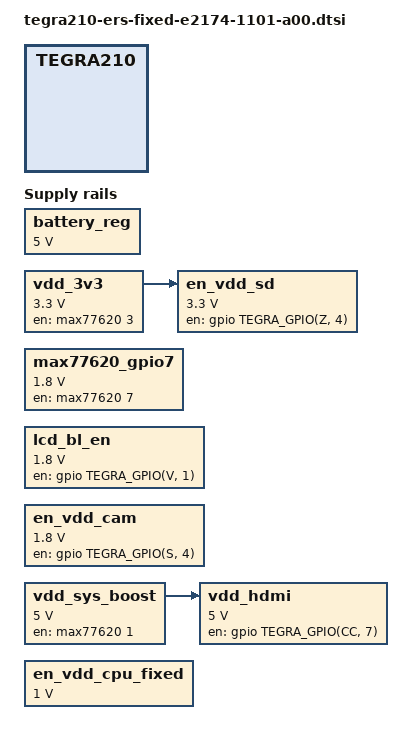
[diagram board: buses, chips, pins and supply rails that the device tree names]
#include <dt-bindings/gpio/tegra-gpio.h>

/ {
	regulators {
		compatible = "simple-bus";
		device_type = "fixed-regulators";
		#address-cells = <1>;
		#size-cells = <0>;

		battery_reg: regulator@0 {
			compatible = "regulator-fixed";
			reg = <0>;
			regulator-name = "vdd-ac-bat";
			regulator-min-microvolt = <5000000>;
			regulator-max-microvolt = <5000000>;
			regulator-always-on;
		};

		vdd_3v3: regulator@1 {
			compatible = "regulator-fixed-sync";
			reg = <1>;
			regulator-name = "vdd-3v3";
			regulator-min-microvolt = <3300000>;
			regulator-max-microvolt = <3300000>;
			regulator-always-on;
			gpio = <&max77620 3 0>;
			enable-active-high;
			consumers {
				c0 {
					regulator-consumer-supply = "avdd_usb";
					regulator-consumer-device = "tegra-udc.0";
				};
				c1 {
					regulator-consumer-supply = "avdd_usb";
					regulator-consumer-device = "tegra-ehci.0";
				};
				c2 {
					regulator-consumer-supply = "avdd_usb";
					regulator-consumer-device = "tegra-ehci.1";
				};
				c3 {
					regulator-consumer-supply = "avdd_usb";
					regulator-consumer-device = "tegra-ehci.2";
				};
				c4 {
					regulator-consumer-supply = "vddio_sd_slot";
					regulator-consumer-device = "sdhci-tegra.3";
				};
				c5 {
					regulator-consumer-supply = "vdd";
					regulator-consumer-device = "1-004d";
				};
				c6 {
					regulator-consumer-supply = "vdd";
					regulator-consumer-device = "0-0069";
				};
				c7 {
					regulator-consumer-supply = "vdd";
					regulator-consumer-device = "0-0077";
				};
				c8 {
					regulator-consumer-supply = "vdd";
					regulator-consumer-device = "0-0010";
				};
				c9 {
					regulator-consumer-supply = "vdd";
					regulator-consumer-device = "0-0048";
				};
				c10 {
					regulator-consumer-supply = "vdd";
					regulator-consumer-device = "0-0044";
				};
				c11 {
					regulator-consumer-supply = "vdd";
					regulator-consumer-device = "0-000d";
				};
				c12 {
					regulator-consumer-supply = "usb_vbus";
					regulator-consumer-device = "tegra-ehci.1";
				};
				c13 {
					regulator-consumer-supply = "usb_vbus1";
					regulator-consumer-device = "tegra-xhci";
				};
				c14 {
					regulator-consumer-supply = "usb_vbus";
					regulator-consumer-device = "tegra-ehci.2";
				};
				c15 {
					regulator-consumer-supply = "usb_vbus2";
					regulator-consumer-device = "tegra-xhci";
				};
			};
		};

		max77620_gpio7: regulator@2 {
			compatible = "regulator-fixed-sync";
			reg = <2>;
			regulator-name = "max77620-gpio7";
			regulator-min-microvolt = <1800000>;
			regulator-max-microvolt = <1800000>;
			regulator-boot-on;
			gpio = <&max77620 7 0>;
			enable-active-high;
			consumers {
				c0 {
					regulator-consumer-supply = "avdd_lcd";
					regulator-consumer-device = "tegradc.0";
				};
				c1 {
					regulator-consumer-supply = "avdd_dsi_csi";
					regulator-consumer-device = "tegradc.0";
				};
				c2 {
					regulator-consumer-supply = "avdd_dsi_csi";
					regulator-consumer-device = "tegradc.1";
				};
				c3 {
					regulator-consumer-supply = "avdd_dsi_csi";
					regulator-consumer-device = "vi.0";
				};
				c4 {
					regulator-consumer-supply = "avdd_dsi_csi";
					regulator-consumer-device = "vi.1";
				};
			};
		};

		lcd_bl_en: regulator@3 {
			compatible = "regulator-fixed-sync";
			reg = <3>;
			regulator-name = "lcd-bl-en";
			regulator-min-microvolt = <1800000>;
			regulator-max-microvolt = <1800000>;
			gpio = <&gpio TEGRA_GPIO(V, 1) 0>;
			enable-active-high;
			consumers {
				c0 {
					regulator-consumer-supply = "vdd_lcd_bl_en";
				};
			};
		};

		en_vdd_sd: regulator@4 {
			compatible = "regulator-fixed-sync";
			reg = <4>;
			regulator-name = "en-vdd-sd";
			regulator-min-microvolt = <3300000>;
			regulator-max-microvolt = <3300000>;
			gpio = <&gpio TEGRA_GPIO(Z, 4) 0>;
			enable-active-high;
			vin-supply = <&vdd_3v3>;
			consumers {
				c0 {
					regulator-consumer-supply = "vddio_sd_slot";
					regulator-consumer-device = "sdhci-tegra.2";
				};
			};
		};

		en_vdd_cam: regulator@5 {
			compatible = "regulator-fixed-sync";
			reg = <5>;
			regulator-name = "en-vdd-cam";
			regulator-min-microvolt = <1800000>;
			regulator-max-microvolt = <1800000>;
			gpio = <&gpio TEGRA_GPIO(S, 4) 0>;
			enable-active-high;
		};

		vdd_sys_boost: regulator@6 {
			compatible = "regulator-fixed-sync";
			reg = <6>;
			regulator-name = "vdd-sys-boost";
			regulator-min-microvolt = <5000000>;
			regulator-max-microvolt = <5000000>;
			regulator-always-on;
			gpio = <&max77620 1 0>;
			enable-active-high;
		};

		vdd_hdmi: regulator@7 {
			compatible = "regulator-fixed-sync";
			reg = <7>;
			regulator-name = "vdd-hdmi";
			regulator-min-microvolt = <5000000>;
			regulator-max-microvolt = <5000000>;
			gpio = <&gpio TEGRA_GPIO(CC, 7) 0>;
			enable-active-high;
			vin-supply = <&vdd_sys_boost>;
			consumers {
				c0 {
					regulator-consumer-supply = "vdd_hdmi_5v0";
					regulator-consumer-device = "tegradc.1";
				};
			};
		};

		en_vdd_cpu_fixed: regulator@8 {
			compatible = "regulator-fixed";
			reg = <8>;
			regulator-name = "vdd-cpu-fixed";
			regulator-min-microvolt = <1000000>;
			regulator-max-microvolt = <1000000>;
			consumers {
				c0 {
					regulator-consumer-supply = "vdd_cpu_fixed";
				};
			};
		};
	};
};
